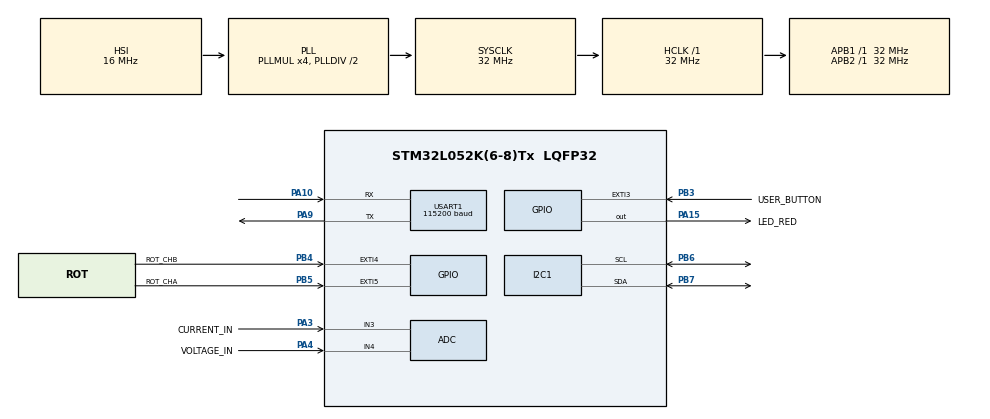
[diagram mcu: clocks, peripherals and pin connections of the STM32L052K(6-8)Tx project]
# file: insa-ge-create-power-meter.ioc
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I2C1.Timing=0x00B07CB4
Mcu.Family=STM32L0
Mcu.Name=STM32L052K(6-8)Tx
Mcu.Package=LQFP32
NVIC.EXTI2_3_IRQn=true\:2\:0\:true\:false\:true\:true\:true\:true
NVIC.EXTI4_15_IRQn=true\:1\:0\:true\:false\:true\:true\:true\:true
NVIC.TIM6_DAC_IRQn=true\:3\:0\:true\:false\:true\:true\:true\:true
PA10.Mode=Asynchronous
PA10.Signal=USART1_RX
PA15.GPIO_Label=LED_RED
PA15.Signal=GPIO_Output
PA3.GPIO_Label=CURRENT_IN
PA3.Mode=IN3
PA3.Signal=ADC_IN3
PA4.GPIO_Label=VOLTAGE_IN
PA4.Mode=IN4
PA4.Signal=ADC_IN4
PA9.Mode=Asynchronous
PA9.Signal=USART1_TX
PB3.GPIO_Label=USER_BUTTON
PB3.GPIO_ModeDefaultEXTI=GPIO_MODE_IT_RISING_FALLING
PB3.Signal=GPXTI3
PB4.GPIO_Label=ROT_CHB
PB4.GPIO_ModeDefaultEXTI=GPIO_MODE_IT_RISING_FALLING
PB4.Signal=GPXTI4
PB5.GPIO_Label=ROT_CHA
PB5.GPIO_ModeDefaultEXTI=GPIO_MODE_IT_RISING_FALLING
PB5.Signal=GPXTI5
PB6.Mode=I2C
PB6.Signal=I2C1_SCL
PB7.Mode=I2C
PB7.Signal=I2C1_SDA
ProjectManager.HeapSize=0x200
ProjectManager.StackSize=0x400
ProjectManager.TargetToolchain=STM32CubeIDE
RCC.AHBFreq_Value=32000000
RCC.APB1Freq_Value=32000000
RCC.APB1TimFreq_Value=32000000
RCC.APB2Freq_Value=32000000
RCC.APB2TimFreq_Value=32000000
RCC.HCLKFreq_Value=32000000
RCC.HSI16_VALUE=16000000
RCC.HSI48_VALUE=48000000
RCC.HSI_VALUE=16000000
RCC.LSE_VALUE=32768
RCC.MSI_VALUE=2097000
RCC.PLLMUL=RCC_PLLMUL_4
RCC.SYSCLKFreq_VALUE=32000000
RCC.SYSCLKSource=RCC_SYSCLKSOURCE_PLLCLK
RCC.VCOOutputFreq_Value=64000000
TIM6.Period=99
TIM6.Prescaler=39999
USART1.BaudRate=115200
USART1.VirtualMode-Asynchronous=VM_ASYNC
VP_TIM6_VS_ClockSourceINT.Mode=Enable_Timer
board=custom

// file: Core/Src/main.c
/* USER CODE BEGIN Header */
/**
  ******************************************************************************
  * @file           : main.c
  * @brief          : Main program body
  ******************************************************************************
  * @attention
  *
  * Copyright (c) 2024 STMicroelectronics.
  * All rights reserved.
  *
  * This software is licensed under terms that can be found in the LICENSE file
  * in the root directory of this software component.
  * If no LICENSE file comes with this software, it is provided AS-IS.
  *
  ******************************************************************************
  */
/* USER CODE END Header */
#include "main.h"

/* USER CODE BEGIN Includes */
#include <stdio.h>
#include "ssd1306/ssd1306.h"

#include <stdlib.h>
#include <stdbool.h>

/* USER CODE END Includes */

/* USER CODE BEGIN PTD */

// The chip doesn't implement native floating-point operations, hence no floats are used in this project's data types

typedef enum : uint8_t {
    INST, CALC, PEAK, GRAPH, MEM, STAT1, STAT2, COMM, DUMP, INFO,

    MENU_ITEMS,
} MenuPage;

typedef struct {
	uint16_t voltage;
	int16_t current;
	int32_t power;
} Measurement;

typedef struct {
	Measurement peak;
	uint32_t duration;
	int32_t energy;
	int32_t average_power;
} SessionData;

typedef struct {
	char line1[20];
	char line2[20];
	char line3[20];
} ScreenText;

/* USER CODE END PTD */

/* USER CODE BEGIN PD */
#define CRLF "\r\n"

#define MAX_VOLTAGE 20000 // mV
#define MAX_CURRENT 5000 // mA
#define MAX_POWER ((MAX_VOLTAGE*MAX_CURRENT)/1000) // mW

#define TIMER_PERIOD 125000 // us

#define SCREEN_WIDTH 128
#define SCREEN_HEIGHT 32

/* USER CODE END PD */

ADC_HandleTypeDef hadc;

I2C_HandleTypeDef hi2c1;

TIM_HandleTypeDef htim6;

UART_HandleTypeDef huart1;

/* USER CODE BEGIN PV */
static uint8_t rotary_state;
static uint8_t rotary_counter;
static uint8_t button_state;

static uint8_t button_down;

// This needs to be volatile because it points to a non-volatile memory location
volatile struct {

	struct {
		MenuPage cur;
		MenuPage prev;
	} menu;

	SessionData last_session;

	bool rt_comm;

}* persistent_data = (void*)DATA_EEPROM_BASE;

uint32_t timestamp = 0;

Measurement instant = {0};

SessionData ram_session = {0};

struct {
	uint8_t buffer[SCREEN_WIDTH];
	uint8_t front;
} plot = {0};

/* USER CODE END PV */

void SystemClock_Config(void);
static void MX_GPIO_Init(void);
static void MX_I2C1_Init(void);
static void MX_ADC_Init(void);
static void MX_TIM6_Init(void);
static void MX_USART1_UART_Init(void);

/* USER CODE BEGIN 0 */

// Fonctions projet CREATE

// Draws INST menu
void CREATE_InstMenu(ScreenText* text_buffers) {

	sprintf(text_buffers->line1, "INST VALS");
	sprintf(text_buffers->line2, "%05u mV  %5d mA", instant.voltage, instant.current);
	sprintf(text_buffers->line3, "P= %12ld mW", instant.power);
	ssd1306_SetCursor(0, 0);
	ssd1306_WriteString(text_buffers->line1, Font_7x10, White);
	ssd1306_SetCursor(0, 11);
	ssd1306_WriteString(text_buffers->line2, Font_7x10, White);
	ssd1306_SetCursor(0, 22);
	ssd1306_WriteString(text_buffers->line3, Font_7x10, White);
}

// Draws CALC menu
void CREATE_CalcMenu(ScreenText* text_buffers) {

	// Reset session on button press
	if (button_state) {
		timestamp = 0;
		ram_session.energy = 0;
		ram_session.average_power = 0;
	}

	sprintf(text_buffers->line1, "CALC VALS");
	sprintf(text_buffers->line2, "E= %11ld uWh", ram_session.energy);
	sprintf(text_buffers->line3, "P_avg= %8ld mW", ram_session.average_power);
	ssd1306_SetCursor(0, 0);
	ssd1306_WriteString(text_buffers->line1, Font_7x10, White);
	ssd1306_SetCursor(0, 11);
	ssd1306_WriteString(text_buffers->line2, Font_7x10, White);
	ssd1306_SetCursor(0, 22);
	ssd1306_WriteString(text_buffers->line3, Font_7x10, White);
}

// Draws PEAK menu
void CREATE_PeakMenu(ScreenText* text_buffers) {

	if (button_state) ram_session.peak = (Measurement){0}; // Reset peak values

	sprintf(text_buffers->line1, "PEAK VALS");
	sprintf(text_buffers->line2, "%05u mV  %5d mA", ram_session.peak.voltage, ram_session.peak.current);
	sprintf(text_buffers->line3, "P_pk= %9ld mW", ram_session.peak.power);
	ssd1306_SetCursor(0, 0);
	ssd1306_WriteString(text_buffers->line1, Font_7x10, White);
	ssd1306_SetCursor(0, 11);
	ssd1306_WriteString(text_buffers->line2, Font_7x10, White);
	ssd1306_SetCursor(0, 22);
	ssd1306_WriteString(text_buffers->line3, Font_7x10, White);
}

// Draws GRAPH menu
void CREATE_GraphMenu(ScreenText* text_buffers) {

	ssd1306_Fill(Black); // Clear screen

	for (uint8_t i = 0; i < SCREEN_WIDTH; ++i) {
		uint8_t p = (i + plot.front+1)%SCREEN_WIDTH; // Walk the plot buffer starting from plot.front+1 and wrapping around up to plot.front

		// Draw pixel at appropriate height and position
		ssd1306_DrawPixel(i, SCREEN_HEIGHT-1 - plot.buffer[p], White);
	}

	// Add instant power readout
	sprintf(text_buffers->line3, "%07ld mW", instant.power);
	ssd1306_SetCursor(0, 22);
	ssd1306_WriteString(text_buffers->line3, Font_7x10, White);
}

// Draws MEM menu
void CREATE_MemMenu(ScreenText* text_buffers) {

	sprintf(text_buffers->line1, "MEMORY");
	sprintf(text_buffers->line2, "Push to save!");
	sprintf(text_buffers->line3, "                   "); // To draw over SAVED message
	ssd1306_SetCursor(0, 0);
	ssd1306_WriteString(text_buffers->line1, Font_7x10, White);
	ssd1306_SetCursor(0, 11);
	ssd1306_WriteString(text_buffers->line2, Font_7x10, White);
	ssd1306_SetCursor(0, 22);
	ssd1306_WriteString(text_buffers->line3, Font_7x10, White);

	ssd1306_UpdateScreen();

	if (!button_down) return; // Early return if button not pressed

	persistent_data->last_session = ram_session;
	FLASH_WaitForLastOperation(FLASH_TIMEOUT_VALUE);

	// Indicate that the write is finished
	sprintf(text_buffers->line3, "       SAVED       ");
	ssd1306_SetCursor(0, 22);
	ssd1306_WriteString(text_buffers->line3, Font_7x10, White);
}

// Draws STAT1 menu
void CREATE_Stat1Menu(ScreenText* text_buffers) {

	sprintf(text_buffers->line1, "STATS SAVED");
	sprintf(text_buffers->line2, "%05u mV  %5d mA", persistent_data->last_session.peak.voltage, persistent_data->last_session.peak.current);
	sprintf(text_buffers->line3, "P_pk= %9ld mW", persistent_data->last_session.peak.power);
	ssd1306_SetCursor(0, 0);
	ssd1306_WriteString(text_buffers->line1, Font_7x10, White);
	ssd1306_SetCursor(0, 11);
	ssd1306_WriteString(text_buffers->line2, Font_7x10, White);
	ssd1306_SetCursor(0, 22);
	ssd1306_WriteString(text_buffers->line3, Font_7x10, White);

}

// Draws STAT2 menu
void CREATE_Stat2Menu(ScreenText* text_buffers) {

	sprintf(text_buffers->line1, "Duration= %6lu s", persistent_data->last_session.duration);
	sprintf(text_buffers->line2, "E= %11ld uWh", persistent_data->last_session.energy);
	sprintf(text_buffers->line3, "P_avg= %8ld mW", persistent_data->last_session.average_power);
	ssd1306_SetCursor(0, 0);
	ssd1306_WriteString(text_buffers->line1, Font_7x10, White);
	ssd1306_SetCursor(0, 11);
	ssd1306_WriteString(text_buffers->line2, Font_7x10, White);
	ssd1306_SetCursor(0, 22);
	ssd1306_WriteString(text_buffers->line3, Font_7x10, White);

}

// Draws COMM menu
void CREATE_CommMenu(ScreenText* text_buffers) {

	sprintf(text_buffers->line1, "RT COMMUNICATION");
	sprintf(text_buffers->line2, "Serial: %s", persistent_data->rt_comm ? "ON " : "OFF");
	ssd1306_SetCursor(0, 0);
	ssd1306_WriteString(text_buffers->line1, Font_7x10, White);
	ssd1306_SetCursor(0, 11);
	ssd1306_WriteString(text_buffers->line2, Font_7x10, White);

	// Runs every timer cycle, continuous feeding intended for remote machine consumption
	if (persistent_data->rt_comm) {

		char msg[130];
		int size = sprintf(msg,
		                   "INST: %05u mV, %5d mA, %9ld mW" CRLF
		                   "CALC: %10ld uWh, %8ld mW" CRLF
		                   "PEAK: %05u mV, %5d mA, %9ld mW" CRLF CRLF,
		                   instant.voltage, instant.current, instant.power,
		                   ram_session.energy, ram_session.average_power,
		                   ram_session.peak.voltage, ram_session.peak.current, ram_session.peak.power);

		HAL_UART_Transmit(&huart1, (uint8_t*)msg, size, 10); // Transmit with 10ms timeout < TIMER_PERIOD budget
	}

	// Toggle real-time serial communication
	if (button_down) persistent_data->rt_comm = !persistent_data->rt_comm;
}

// Draws DUMP menu
void CREATE_DumpMenu(ScreenText* text_buffers) {

	sprintf(text_buffers->line1, "DUMP SESSION");
	sprintf(text_buffers->line2, "Push to UART-dump!");
	sprintf(text_buffers->line3, "                   ");
	ssd1306_SetCursor(0, 0);
	ssd1306_WriteString(text_buffers->line1, Font_7x10, White);
	ssd1306_SetCursor(0, 11);
	ssd1306_WriteString(text_buffers->line2, Font_7x10, White);
	ssd1306_SetCursor(0, 22);
	ssd1306_WriteString(text_buffers->line3, Font_7x10, White);

	ssd1306_UpdateScreen();

	if (!button_down) return;
	// One-time serial communication

	char msg[130];
	int size = sprintf(msg,
	                   "Session: %6lu s" CRLF
	                   "CALC: %10ld uWh, %8ld mW" CRLF
	                   "PEAK: %05u mV, %5d mA, %9ld mW" CRLF CRLF,
	                   persistent_data->last_session.duration,
	                   persistent_data->last_session.energy, persistent_data->last_session.average_power,
	                   persistent_data->last_session.peak.voltage, persistent_data->last_session.peak.current, persistent_data->last_session.peak.power);

	HAL_UART_Transmit(&huart1, (uint8_t*)msg, size, 10);

	// Reset saved session
	persistent_data->last_session = (SessionData){0};

	sprintf(text_buffers->line3, "      DUMPED       ");
	ssd1306_SetCursor(0, 22);
	ssd1306_WriteString(text_buffers->line3, Font_7x10, White);
}

// Draws INFO menu
void CREATE_InfoMenu(ScreenText* text_buffers) {

	// Additional information, mainly useful for debugging but I thought it best to keep it

	sprintf(text_buffers->line1, "INFORMATION");
	sprintf(text_buffers->line2, "TS= %14lu", timestamp);
	sprintf(text_buffers->line3, "Duration= %6lu s", ram_session.duration);
	ssd1306_SetCursor(0, 0);
	ssd1306_WriteString(text_buffers->line1, Font_7x10, White);
	ssd1306_SetCursor(0, 11);
	ssd1306_WriteString(text_buffers->line2, Font_7x10, White);
	ssd1306_SetCursor(0, 22);
	ssd1306_WriteString(text_buffers->line3, Font_7x10, White);
}

// Dispatches the screen menu draws and also fetches and calculates the necessary information.
// This is where most of the work happens.
void CREATE_ScreenFrame(void) {

	// Unlock EEPROM region for subsequent writes
	HAL_FLASHEx_DATAEEPROM_Unlock();
	FLASH_WaitForLastOperation(FLASH_TIMEOUT_VALUE); // Wait for any unfinished operation (shouldn't be much)

	// Take measurements, used to display INST page
	instant.voltage = ((int16_t)(Get_ADC_Value(ADC_CHANNEL_4) - 110) * 8); // mV
	instant.current = ((int16_t)(Get_ADC_Value(ADC_CHANNEL_3) - 2152) * 41)/10; // mA
	instant.power = (int32_t)(instant.voltage * instant.current)/1000; // mW

	// Calculate energy, for CALC page
	ram_session.energy += ((int64_t)instant.power * TIMER_PERIOD)/3600000; // uWh
	ram_session.average_power = (((int64_t)ram_session.energy * 3600000)/(timestamp * TIMER_PERIOD)); // mW
	ram_session.duration = (timestamp * TIMER_PERIOD) / 1000000; // s

	// Determine peaks, for PEAK page
	if (instant.voltage > ram_session.peak.voltage) ram_session.peak.voltage = instant.voltage;
	if (abs(instant.current) >= abs(ram_session.peak.current)) ram_session.peak.current = instant.current;
	if (labs(instant.power) >= labs(ram_session.peak.power)) ram_session.peak.power = instant.power;

	// Update plot front, for GRAPH page
	plot.front = (plot.front + 1) % SCREEN_WIDTH;
	plot.buffer[plot.front] = (((instant.power + MAX_POWER) * (SCREEN_HEIGHT-1))/(2*MAX_POWER)) % SCREEN_HEIGHT;

	// Setup/clear screen text buffers
	ScreenText text_buffers = {0};

	// Only fully clear the screen if changing menu page
	if (persistent_data->menu.cur != persistent_data->menu.prev) ssd1306_Fill(Black);
	persistent_data->menu.prev = persistent_data->menu.cur;

	// Dispatch menu displays
	switch (persistent_data->menu.cur) {

		case INST:  CREATE_InstMenu(&text_buffers);  break;
		case CALC:  CREATE_CalcMenu(&text_buffers);  break;
		case PEAK:  CREATE_PeakMenu(&text_buffers);  break;
		case GRAPH: CREATE_GraphMenu(&text_buffers); break;
		case MEM:   CREATE_MemMenu(&text_buffers);   break;
		case STAT1: CREATE_Stat1Menu(&text_buffers); break;
		case STAT2: CREATE_Stat2Menu(&text_buffers); break;
		case COMM:  CREATE_CommMenu(&text_buffers);  break;
		case DUMP:  CREATE_DumpMenu(&text_buffers);  break;
		case INFO:  CREATE_InfoMenu(&text_buffers);  break;
		default:                                     break;
	}

	// Actually apply screen changes
	ssd1306_UpdateScreen();

	FLASH_WaitForLastOperation(FLASH_TIMEOUT_VALUE); // Wait for unfinished ops done in the function
	HAL_FLASHEx_DATAEEPROM_Lock(); // Lock the EEPROM again, prevent writes
}

/**
  * @brief  Interrupt handler for TIM6 timer
  * @note	This function is called when the timer is reloaded
  *         It reads ADC values from volateg and current inputs and updates screen information
  */
void Timer_Interrupt_Handler(void) {

	++timestamp; // Ever-increasing time counter

	CREATE_ScreenFrame();

	button_down = false; // Reset edge variable so that it can be true only during a frame
}

/**
  * @brief  Interrupt handler for User Button GPIO
  * @note	This function is called when a rising edge is detected on User Button input pin
  */
void User_Button_Interrupt_Handler(void) {

	button_state = HAL_GPIO_ReadPin(USER_BUTTON_GPIO_Port, USER_BUTTON_Pin);

	// Use a second variable to detect button edge
	button_down = button_state; // Needs to be reset regularly elsewhere
}

/**
  * @brief  Interrupt handler for Rotary Encoder Channel A
  * @note	This function is called when a rising edge is detected on channel A of the rotary encoder
  */
void Rotary_Encoder_Interrupt_Handler(void) {

	static int8_t rotary_buffer = 0;
	/* Check for rotary encoder turned clockwise or counter-clockwise */
	HAL_Delay(5);
	uint8_t rotary_new = HAL_GPIO_ReadPin(ROT_CHA_GPIO_Port, ROT_CHA_Pin) << 1;
	rotary_new += HAL_GPIO_ReadPin(ROT_CHB_GPIO_Port, ROT_CHB_Pin);
	if (rotary_new != rotary_state) {
		if (((rotary_state == 0b00) && (rotary_new == 0b10)) || ((rotary_state == 0b10) && (rotary_new == 0b11)) ||
				((rotary_state == 0b11) && (rotary_new == 0b01)) || ((rotary_state == 0b01) && (rotary_new == 0b00))) {
			rotary_buffer ++;
		}
		if (((rotary_state == 0b00) && (rotary_new == 0b01)) || ((rotary_state == 0b01) && (rotary_new == 0b11)) ||
				((rotary_state == 0b11) && (rotary_new == 0b10)) || ((rotary_state == 0b10) && (rotary_new == 0b00))) {
			rotary_buffer --;
		}

		rotary_state = rotary_new;

		// Menu selection is stored in non-volatile memory hence needs to unlock EEPROM
		HAL_FLASHEx_DATAEEPROM_Unlock();
		FLASH_WaitForLastOperation(FLASH_TIMEOUT_VALUE);
		if (rotary_buffer > 3) {
			rotary_counter ++;
			rotary_buffer = 0;

			// Increase selection on clockwise rotation
			persistent_data->menu.cur = (persistent_data->menu.cur + 1) % MENU_ITEMS;
		}

		if (rotary_buffer < -3) {
			rotary_counter --;
			rotary_buffer = 0;

			// Decrease selection on clockwise rotation
			persistent_data->menu.cur = (persistent_data->menu.cur + MENU_ITEMS-1) % MENU_ITEMS;
		}

		FLASH_WaitForLastOperation(FLASH_TIMEOUT_VALUE);
		// EEPROM Lock is not reentrant hence we can't re-lock it here, because it potentially will prevent accesses in ScreenFrame routine
	}
}

/**
  * @brief  Start a conversion and return the value converted.
  * @note   This function waits for the end of conversion in a blocking way
  * @param  hadc ADC handle
  * @param  adc_channel Channel macro such as ADC_CHANNEL_0, ADC_CHANNEL_1, etc.
  * @retval Channel converted value
  */
uint32_t Get_ADC_Value(uint32_t adc_channel)
{
	/* Disable all previous channel configuration */
	hadc.Instance->CHSELR = 0;
	ADC_ChannelConfTypeDef sConfig = {0};
	sConfig.Channel = adc_channel;
	sConfig.Rank = ADC_RANK_CHANNEL_NUMBER;
	if (HAL_ADC_ConfigChannel(&hadc, &sConfig) != HAL_OK)
	{
		Error_Handler();
	}
	if (HAL_ADC_Start(&hadc) != HAL_OK)
	{
		Error_Handler();
	}
	if (HAL_ADC_PollForConversion(&hadc, 100) != HAL_OK)
	{
		Error_Handler();
	}
	return HAL_ADC_GetValue(&hadc);
}
/* USER CODE END 0 */

int main(void)
{

  /* MCU Configuration--------------------------------------------------------*/

  /* Reset of all peripherals, Initializes the Flash interface and the Systick. */
  HAL_Init();

  /* Configure the system clock */
  SystemClock_Config();

  /* Initialize all configured peripherals */
  MX_GPIO_Init();
  MX_I2C1_Init();
  MX_ADC_Init();
  MX_TIM6_Init();
  MX_USART1_UART_Init();
  /* USER CODE BEGIN 2 */
  ssd1306_Init();
  ssd1306_Fill(Black);
  ssd1306_UpdateScreen();
  HAL_GPIO_WritePin(LED_RED_GPIO_Port, LED_RED_Pin, GPIO_PIN_SET);
  HAL_TIM_Base_Start_IT(&htim6);
  /* USER CODE END 2 */

  /* Infinite loop */
  /* USER CODE BEGIN WHILE */
  rotary_state = HAL_GPIO_ReadPin(ROT_CHA_GPIO_Port, ROT_CHA_Pin) << 1;
  rotary_state += HAL_GPIO_ReadPin(ROT_CHB_GPIO_Port, ROT_CHB_Pin);
  while (1)
  {
    /* USER CODE END WHILE */

  }
}

void SystemClock_Config(void)
{
  RCC_OscInitTypeDef RCC_OscInitStruct = {0};
  RCC_ClkInitTypeDef RCC_ClkInitStruct = {0};
  RCC_PeriphCLKInitTypeDef PeriphClkInit = {0};

  /** Configure the main internal regulator output voltage
  */
  __HAL_PWR_VOLTAGESCALING_CONFIG(PWR_REGULATOR_VOLTAGE_SCALE1);

  /** Initializes the RCC Oscillators according to the specified parameters
  * in the RCC_OscInitTypeDef structure.
  */
  RCC_OscInitStruct.OscillatorType = RCC_OSCILLATORTYPE_HSI;
  RCC_OscInitStruct.HSIState = RCC_HSI_ON;
  RCC_OscInitStruct.HSICalibrationValue = RCC_HSICALIBRATION_DEFAULT;
  RCC_OscInitStruct.PLL.PLLState = RCC_PLL_ON;
  RCC_OscInitStruct.PLL.PLLSource = RCC_PLLSOURCE_HSI;
  RCC_OscInitStruct.PLL.PLLMUL = RCC_PLLMUL_4;
  RCC_OscInitStruct.PLL.PLLDIV = RCC_PLLDIV_2;
  if (HAL_RCC_OscConfig(&RCC_OscInitStruct) != HAL_OK)
  {
    Error_Handler();
  }

  /** Initializes the CPU, AHB and APB buses clocks
  */
  RCC_ClkInitStruct.ClockType = RCC_CLOCKTYPE_HCLK|RCC_CLOCKTYPE_SYSCLK
                              |RCC_CLOCKTYPE_PCLK1|RCC_CLOCKTYPE_PCLK2;
  RCC_ClkInitStruct.SYSCLKSource = RCC_SYSCLKSOURCE_PLLCLK;
  RCC_ClkInitStruct.AHBCLKDivider = RCC_SYSCLK_DIV1;
  RCC_ClkInitStruct.APB1CLKDivider = RCC_HCLK_DIV1;
  RCC_ClkInitStruct.APB2CLKDivider = RCC_HCLK_DIV1;

  if (HAL_RCC_ClockConfig(&RCC_ClkInitStruct, FLASH_LATENCY_1) != HAL_OK)
  {
    Error_Handler();
  }
  PeriphClkInit.PeriphClockSelection = RCC_PERIPHCLK_USART1|RCC_PERIPHCLK_I2C1;
  PeriphClkInit.Usart1ClockSelection = RCC_USART1CLKSOURCE_PCLK2;
  PeriphClkInit.I2c1ClockSelection = RCC_I2C1CLKSOURCE_PCLK1;
  if (HAL_RCCEx_PeriphCLKConfig(&PeriphClkInit) != HAL_OK)
  {
    Error_Handler();
  }
}

static void MX_ADC_Init(void)
{

  ADC_ChannelConfTypeDef sConfig = {0};

  /** Configure the global features of the ADC (Clock, Resolution, Data Alignment and number of conversion)
  */
  hadc.Instance = ADC1;
  hadc.Init.OversamplingMode = DISABLE;
  hadc.Init.ClockPrescaler = ADC_CLOCK_SYNC_PCLK_DIV2;
  hadc.Init.Resolution = ADC_RESOLUTION_12B;
  hadc.Init.SamplingTime = ADC_SAMPLETIME_1CYCLE_5;
  hadc.Init.ScanConvMode = ADC_SCAN_DIRECTION_FORWARD;
  hadc.Init.DataAlign = ADC_DATAALIGN_RIGHT;
  hadc.Init.ContinuousConvMode = DISABLE;
  hadc.Init.DiscontinuousConvMode = DISABLE;
  hadc.Init.ExternalTrigConvEdge = ADC_EXTERNALTRIGCONVEDGE_NONE;
  hadc.Init.ExternalTrigConv = ADC_SOFTWARE_START;
  hadc.Init.DMAContinuousRequests = DISABLE;
  hadc.Init.EOCSelection = ADC_EOC_SINGLE_CONV;
  hadc.Init.Overrun = ADC_OVR_DATA_PRESERVED;
  hadc.Init.LowPowerAutoWait = DISABLE;
  hadc.Init.LowPowerFrequencyMode = DISABLE;
  hadc.Init.LowPowerAutoPowerOff = DISABLE;
  if (HAL_ADC_Init(&hadc) != HAL_OK)
  {
    Error_Handler();
  }

  /** Configure for the selected ADC regular channel to be converted.
  */
  sConfig.Channel = ADC_CHANNEL_3;
  sConfig.Rank = ADC_RANK_CHANNEL_NUMBER;
  if (HAL_ADC_ConfigChannel(&hadc, &sConfig) != HAL_OK)
  {
    Error_Handler();
  }

  /** Configure for the selected ADC regular channel to be converted.
  */
  sConfig.Channel = ADC_CHANNEL_4;
  if (HAL_ADC_ConfigChannel(&hadc, &sConfig) != HAL_OK)
  {
    Error_Handler();
  }

}

static void MX_I2C1_Init(void)
{

  hi2c1.Instance = I2C1;
  hi2c1.Init.Timing = 0x00B07CB4;
  hi2c1.Init.OwnAddress1 = 0;
  hi2c1.Init.AddressingMode = I2C_ADDRESSINGMODE_7BIT;
  hi2c1.Init.DualAddressMode = I2C_DUALADDRESS_DISABLE;
  hi2c1.Init.OwnAddress2 = 0;
  hi2c1.Init.OwnAddress2Masks = I2C_OA2_NOMASK;
  hi2c1.Init.GeneralCallMode = I2C_GENERALCALL_DISABLE;
  hi2c1.Init.NoStretchMode = I2C_NOSTRETCH_DISABLE;
  if (HAL_I2C_Init(&hi2c1) != HAL_OK)
  {
    Error_Handler();
  }

  /** Configure Analogue filter
  */
  if (HAL_I2CEx_ConfigAnalogFilter(&hi2c1, I2C_ANALOGFILTER_ENABLE) != HAL_OK)
  {
    Error_Handler();
  }

  /** Configure Digital filter
  */
  if (HAL_I2CEx_ConfigDigitalFilter(&hi2c1, 0) != HAL_OK)
  {
    Error_Handler();
  }

}

static void MX_TIM6_Init(void)
{

  TIM_MasterConfigTypeDef sMasterConfig = {0};

  htim6.Instance = TIM6;
  htim6.Init.Prescaler = 39999;
  htim6.Init.CounterMode = TIM_COUNTERMODE_UP;
  htim6.Init.Period = 99;
  htim6.Init.AutoReloadPreload = TIM_AUTORELOAD_PRELOAD_DISABLE;
  if (HAL_TIM_Base_Init(&htim6) != HAL_OK)
  {
    Error_Handler();
  }
  sMasterConfig.MasterOutputTrigger = TIM_TRGO_RESET;
  sMasterConfig.MasterSlaveMode = TIM_MASTERSLAVEMODE_DISABLE;
  if (HAL_TIMEx_MasterConfigSynchronization(&htim6, &sMasterConfig) != HAL_OK)
  {
    Error_Handler();
  }

}

static void MX_USART1_UART_Init(void)
{

  huart1.Instance = USART1;
  huart1.Init.BaudRate = 115200;
  huart1.Init.WordLength = UART_WORDLENGTH_8B;
  huart1.Init.StopBits = UART_STOPBITS_1;
  huart1.Init.Parity = UART_PARITY_NONE;
  huart1.Init.Mode = UART_MODE_TX_RX;
  huart1.Init.HwFlowCtl = UART_HWCONTROL_NONE;
  huart1.Init.OverSampling = UART_OVERSAMPLING_16;
  huart1.Init.OneBitSampling = UART_ONE_BIT_SAMPLE_DISABLE;
  huart1.AdvancedInit.AdvFeatureInit = UART_ADVFEATURE_NO_INIT;
  if (HAL_UART_Init(&huart1) != HAL_OK)
  {
    Error_Handler();
  }

}

static void MX_GPIO_Init(void)
{
  GPIO_InitTypeDef GPIO_InitStruct = {0};

  /* GPIO Ports Clock Enable */
  __HAL_RCC_GPIOA_CLK_ENABLE();
  __HAL_RCC_GPIOB_CLK_ENABLE();

  /*Configure GPIO pin Output Level */
  HAL_GPIO_WritePin(LED_RED_GPIO_Port, LED_RED_Pin, GPIO_PIN_RESET);

  /*Configure GPIO pin : LED_RED_Pin */
  GPIO_InitStruct.Pin = LED_RED_Pin;
  GPIO_InitStruct.Mode = GPIO_MODE_OUTPUT_PP;
  GPIO_InitStruct.Pull = GPIO_NOPULL;
  GPIO_InitStruct.Speed = GPIO_SPEED_FREQ_LOW;
  HAL_GPIO_Init(LED_RED_GPIO_Port, &GPIO_InitStruct);

  /*Configure GPIO pins : USER_BUTTON_Pin ROT_CHB_Pin ROT_CHA_Pin */
  GPIO_InitStruct.Pin = USER_BUTTON_Pin|ROT_CHB_Pin|ROT_CHA_Pin;
  GPIO_InitStruct.Mode = GPIO_MODE_IT_RISING_FALLING;
  GPIO_InitStruct.Pull = GPIO_NOPULL;
  HAL_GPIO_Init(GPIOB, &GPIO_InitStruct);

  /* EXTI interrupt init*/
  HAL_NVIC_SetPriority(EXTI2_3_IRQn, 2, 0);
  HAL_NVIC_EnableIRQ(EXTI2_3_IRQn);

  HAL_NVIC_SetPriority(EXTI4_15_IRQn, 1, 0);
  HAL_NVIC_EnableIRQ(EXTI4_15_IRQn);

}

void Error_Handler(void)
{
  __disable_irq();
  while (1)
  {
  }
}
